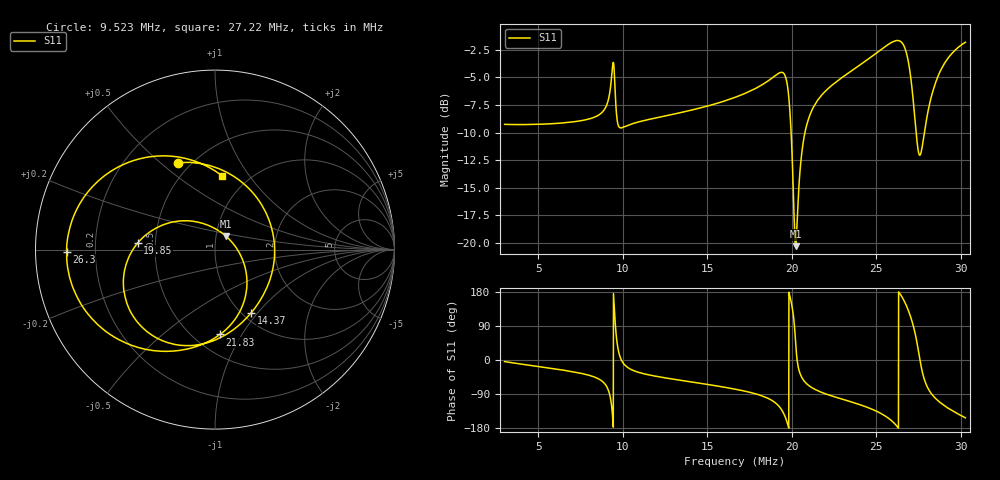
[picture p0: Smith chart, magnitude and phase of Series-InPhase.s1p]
# HZ S RI R 50
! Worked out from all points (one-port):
!   2727 points, 3 MHz to 30.27 MHz, reference 50 ohm
!   lowest |S11| = -20.3 dB at 20.22 MHz (marker M1), VSWR 1.21, Z = 56 + j8.3 ohm
!   |S11| at or under -10 dB: 19.96 MHz to 20.77 MHz (818.6 kHz wide, 4.02 % of centre); 27.36 MHz to 27.85 MHz (488.7 kHz wide, 1.77 % of centre)
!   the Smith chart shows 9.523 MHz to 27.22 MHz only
!   S11 on the Smith chart (normalised r, x): 9.523 MHz: 0.43, +0.57; 14.37 MHz: 1.10, -0.92; 19.85 MHz: 0.40, +0.04; 21.83 MHz: 0.66, -0.81; 26.3 MHz: 0.09, -0.01; 27.22 MHz: 0.76, +0.75
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3000000  0.3436 -0.0252
6411364  0.3132 -0.1554
8722288  0.2266 -0.3145
9242496  -0.0476 -0.4888
9392556  -0.55 -0.3171
9522608  -0.2051 0.4847
9662664  0.2613 0.247
9822728  0.3282 0.0557
1.061304e7  0.3082 -0.1611
1.323409e7  0.2363 -0.3062
1.437455e7  0.2021 -0.3516
1.663545e7  0.1038 -0.4448
1.913645e7  -0.2672 -0.517
1.94966e7  -0.4474 -0.3839
1.984674e7  -0.431 0.0365
2.004682e7  -0.1414 0.1601
2.021688e7  0.0627 0.0733
2.078711e7  0.1664 -0.2727
2.182753e7  0.0282 -0.4727
2.345818e7  -0.2021 -0.5622
2.528891e7  -0.5893 -0.4691
2.629932e7  -0.8273 -0.0133
2.686954e7  -0.4684 0.4911
2.721968e7  0.0386 0.4118
2.762985e7  0.2486 -0.0519
2.836014e7  -0.039 -0.49
2.916046e7  -0.3835 -0.5548
3.02709e7  -0.7212 -0.3747
